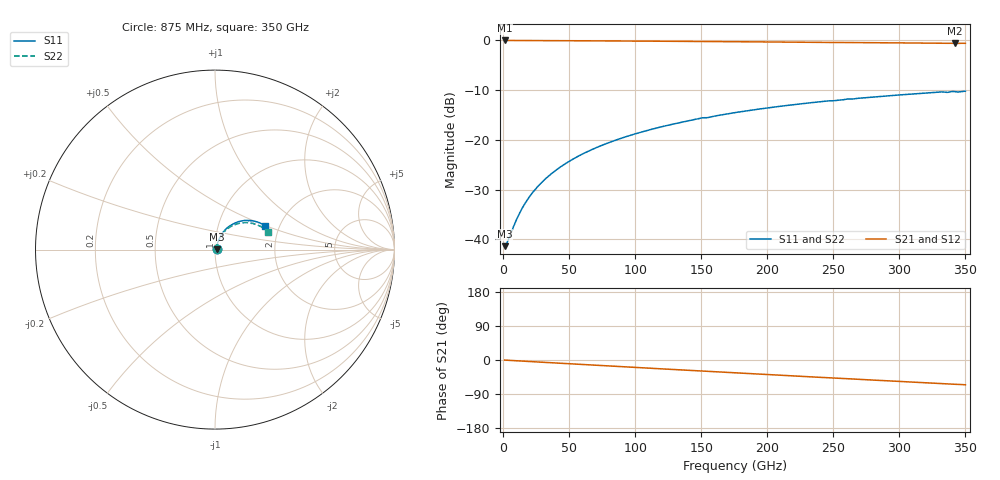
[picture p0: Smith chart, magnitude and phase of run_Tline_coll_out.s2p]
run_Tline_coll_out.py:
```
########################################################################
#
# Copyright 2025 Volker Muehlhaus and IHP PDK Authors
#
# Licensed under the GNU General Public License, Version 3.0 (the "License");
# you may not use this file except in compliance with the License.
# You may obtain a copy of the License at
#
#    https://www.gnu.org/licenses/gpl-3.0
#
# Unless required by applicable law or agreed to in writing, software
# distributed under the License is distributed on an "AS IS" BASIS,
# WITHOUT WARRANTIES OR CONDITIONS OF ANY KIND, either express or implied.
# See the License for the specific language governing permissions and
# limitations under the License.
#
########################################################################

import os

from gds2openEMS import *

from openEMS import openEMS
import numpy as np


# Model comments
#
# This is a generic model running port excitation for all ports defined below,
# to get full [S] matrix data.
# Output is stored to Touchstone S-parameter file.
# No data plots are created by this script.
#
# This model uses the settings{} dictionary syntax and the gds2openEMS PyPI package
# (pip install gds2openEMS) instead of a local copy of the modules folder - see the
# README for the loose-variable / local-modules-copy alternative, still fully supported.


# ======================== workflow settings ================================

settings = {}

settings['preview_only'] = True  # preview model/mesh only?
settings['no_gui'] = False # if set to True, there is no mesh/model preview in AppCSXCAD, and simulation starts immediately.

# ===================== input files and path settings =======================

gds_filename = "../klayout/Tline_coll_out.gds"   # geometries
XML_filename = "SG13G2.xml"          # stackup

# preprocess GDSII for safe handling of cutouts/holes?
settings['preprocess_gds'] = False

# merge via polygons with distance less than .. microns, set to 0 to disable via merging.
settings['merge_polygon_size'] = 1


# get path for this simulation file
script_path = utilities.get_script_path(__file__)
# use script filename as model basename
model_basename = utilities.get_basename(__file__)
# set and create directory for simulation output
sim_path = utilities.create_sim_path (script_path,model_basename)
print('Simulation data directory: ', sim_path)
# change current path to model script path
os.chdir(os.path.dirname(os.path.abspath(__file__)))

# ======================== simulation settings ================================

settings['unit']   = 1e-6  # geometry is in microns
settings['margin'] = 200    # distance in microns from GDSII geometry boundary to simulation boundary

settings['fstart']  = 0e9
settings['fstop']   = 350e9
settings['numfreq'] = 401

settings['refined_cellsize'] = 0.3  # mesh cell size in conductor region

# choices for boundary:
# 'PEC' : perfect electric conductor (default)
# 'PMC' : perfect magnetic conductor, useful for symmetries
# 'MUR' : simple MUR absorbing boundary conditions
# 'PML_8' : PML absorbing boundary conditions
settings['Boundaries'] = ['PEC', 'PEC', 'PEC', 'PEC', 'PEC', 'PEC']

settings['cells_per_wavelength'] = 20   # how many mesh cells per wavelength, must be 10 or more
settings['energy_limit'] = -50          # end criteria for residual energy (dB)

# port configuration, port geometry is read from GDSII file on the specified layer
simulation_ports = simulation_setup.all_simulation_ports()

# in-plane port is specified with target_layername= and direction x or y
# via port is specified with from_layername= and to_layername= and direction z
simulation_ports.add_port(simulation_setup.simulation_port(portnumber=1, 
                                                           voltage=1, 
                                                           port_Z0=50, 
                                                           source_layernum=201, 
                                                           from_layername='Metal2', 
                                                           to_layername='TopMetal2', 
                                                           direction='z'))

simulation_ports.add_port(simulation_setup.simulation_port(portnumber=2, 
                                                           voltage=1, 
                                                           port_Z0=50, 
                                                           source_layernum=202, 
                                                           from_layername='Metal2', 
                                                           to_layername='TopMetal1', 
                                                           direction='z'))

# optional field dump based on bounding box of GDSII layer data on special layers
# supported dump_type = 'E','H','J','rotH'
# supported file_type = 'vtk', 'hdf5'
# z-position is zmax of from_layername, zmin of to_layername
# if field_dumps == True:
#     field_dumps = simulation_setup.all_field_dumps()
#     field_dumps.add_frequency_dump(name='Jf', file_type='vtk', dump_type='J', frequency=60e9, source_layernum=301, from_layername='TopMetal2', to_layername='TopMetal2', offset_top=0, offset_bottom=0)
#     field_dumps.add_time_dump(name='Et', file_type='vtk', dump_type='E', source_layernum=302, from_layername='Metal2', to_layername='TopMetal2', offset_top=10, offset_bottom=0)
# settings['field_dumps'] = field_dumps

# ======================== simulation ================================

# get technology stackup data
materials_list, dielectrics_list, metals_list = stackup_reader.read_substrate (XML_filename)
# get list of layers from technology
layernumbers = metals_list.getlayernumbers()
# we must also read the layers where we added ports, these are not included in technology layers
layernumbers.extend(simulation_ports.portlayers)

# read geometries from GDSII, only purpose 0
allpolygons = gds_reader.read_gds(gds_filename,
                                  layernumbers,
                                  purposelist=[0],
                                  metals_list=metals_list,
                                  preprocess=settings['preprocess_gds'],
                                  merge_polygon_size=settings['merge_polygon_size'])

# maximum cellsize is calculated inside setupSimulation when using settings dictionary

# define excitation and stop criteria and boundaries
FDTD = openEMS(EndCriteria=np.exp(settings['energy_limit']/10 * np.log(10)))
FDTD.SetGaussExcite( (settings['fstart']+settings['fstop'])/2, (settings['fstop']-settings['fstart'])/2 )
FDTD.SetBoundaryCond( settings['Boundaries'] )

settings['simulation_ports'] = simulation_ports
settings['materials_list'] = materials_list
settings['dielectrics_list'] = dielectrics_list
settings['metals_list'] = metals_list
settings['layernumbers'] = layernumbers
settings['allpolygons'] = allpolygons
settings['sim_path'] = sim_path
settings['model_basename'] = model_basename


########### create model, run and post-process ###########

# run all active port excitations, one after another. Ports with voltage=0 are skipped here -
# their S-parameters are left out of the result, see the FAQ in the user's guide.

for excite_portnumbers in simulation_ports.all_active_excitations():
    settings['excite_portnumbers'] = excite_portnumbers

    simulation_setup.setupSimulation (FDTD=FDTD, settings=settings)  # must use named parameters when using settings dict!
    simulation_setup.runSimulation   (FDTD=FDTD, settings=settings)  # must use named parameters when using settings dict!


# Initialize an empty matrix for S-parameters
num_ports = simulation_ports.portcount
s_params = np.empty((num_ports, num_ports, settings['numfreq']), dtype=object)

# Define frequency resolution. Due to FFT from Empire time domain results,
# this is postprocessing and we can change it again at any time.
f = np.linspace(settings['fstart'],settings['fstop'],settings['numfreq'])

# Populate the S-parameter matrix with simulation results
for i in range(1, num_ports + 1):
    for j in range(1, num_ports + 1):
        s_params[i-1, j-1] = utilities.calculate_Sij(i, j, f, sim_path, simulation_ports)

# Write to Touchstone *.snp file
snp_name = os.path.join(sim_path, model_basename + '.s' + str(num_ports) + 'p')
utilities.write_snp(s_params, f, snp_name, z0=simulation_ports.get_reference_impedance())

print('Created S-parameter output file at ', snp_name)
```
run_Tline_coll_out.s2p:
#  Hz  S  RI  R  50
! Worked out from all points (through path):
!   400 points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, 875 MHz to 350 GHz, reference 50 ohm
!   highest |S21| = -0.08 dB at 875 MHz (marker M1); lowest = -0.7 dB at 342.1 GHz (marker M2)
!   group delay of S21, straight-line fit = 519 fs
!   lowest |S11| = -41.3 dB at 875 MHz (marker M3), VSWR 1.02, Z = 50.9 + j0.118 ohm
!   |S11| at or under -10 dB: start of sweep to end of sweep
!   |S22| runs from -41.3 to -10.2 dB; largest |S21 - S12| = 0.00098
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8.75e8  0.00849 0.00116  0.9914 -0.00325  0.9914 -0.00327  0.00849 0.00115
1.3125e10  0.0102 0.0165  0.9887 -0.0464  0.9887 -0.0464  0.0103 0.0165
2.1875e10  0.0122 0.0266  0.9858 -0.0763  0.9858 -0.0762  0.0124 0.0265
3.5875e10  0.0164 0.0421  0.9793 -0.1233  0.9793 -0.1233  0.0169 0.0419
5.25e10  0.0229 0.0595  0.9687 -0.1782  0.9687 -0.1782  0.024 0.0592
7.525e10  0.0346 0.0816  0.9489 -0.2513  0.9489 -0.2513  0.0366 0.081
1.02375e11  0.0521 0.1051  0.9178 -0.3349  0.9179 -0.3349  0.0556 0.1036
1.75875e11  0.1138 0.1493  0.7992 -0.5371  0.7993 -0.5374  0.1228 0.1432
2.5725e11  0.193 0.1618  0.6205 -0.7129  0.6205 -0.7134  0.2078 0.1458
3.42125e11  0.274 0.1317  0.4043 -0.8318  0.404 -0.8323  0.2911 0.1006
3.5e11  0.2776 0.1316  0.3857 -0.8443  0.3854 -0.845  0.2945 0.0984
